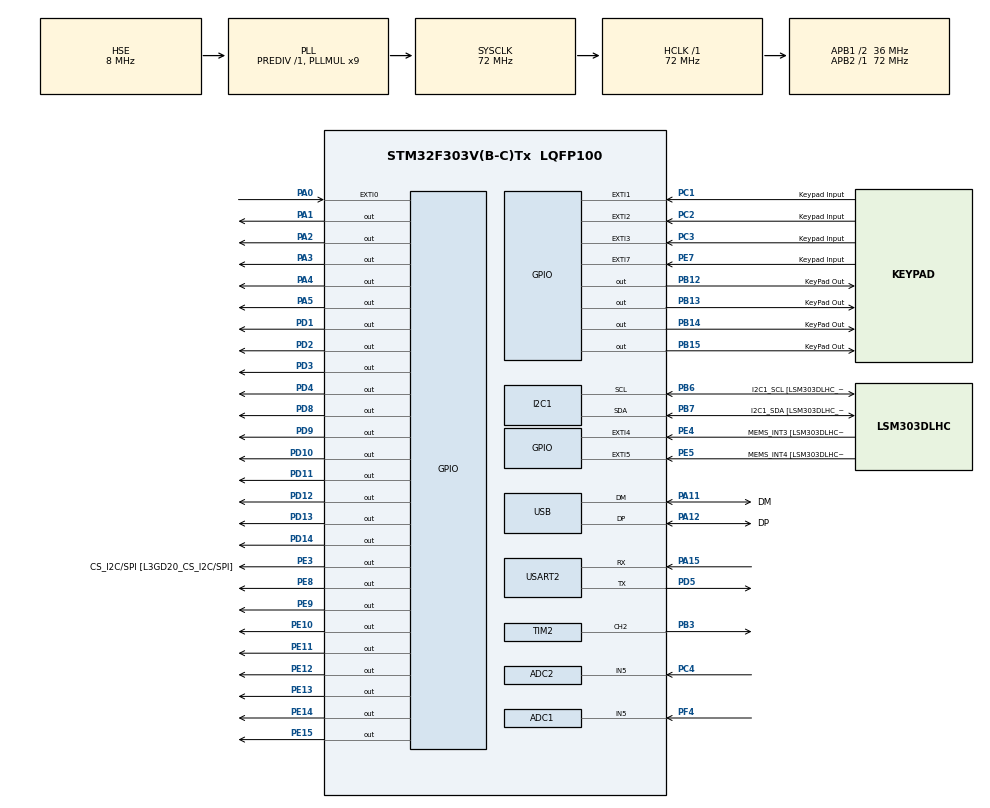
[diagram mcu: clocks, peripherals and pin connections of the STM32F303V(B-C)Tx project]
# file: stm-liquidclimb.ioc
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ADC1.Channel-0\#ChannelRegularConversion=ADC_CHANNEL_5
ADC1.NbrOfConversionFlag=1
ADC1.Offset-0\#ChannelRegularConversion=0
ADC1.OffsetNumber-0\#ChannelRegularConversion=ADC_OFFSET_NONE
ADC1.Rank-0\#ChannelRegularConversion=1
ADC1.SamplingTime-0\#ChannelRegularConversion=ADC_SAMPLETIME_601CYCLES_5
ADC1.SamplingTimeOPAMP-0\#ChannelRegularConversion=ADC_SAMPLETIME_61CYCLES_5
ADC1.master=1
ADC2.Channel-0\#ChannelRegularConversion=ADC_CHANNEL_5
ADC2.NbrOfConversionFlag=1
ADC2.Offset-0\#ChannelRegularConversion=0
ADC2.OffsetNumber-0\#ChannelRegularConversion=ADC_OFFSET_NONE
ADC2.Rank-0\#ChannelRegularConversion=1
ADC2.SamplingTime-0\#ChannelRegularConversion=ADC_SAMPLETIME_601CYCLES_5
ADC2.SamplingTimeOPAMP-0\#ChannelRegularConversion=ADC_SAMPLETIME_61CYCLES_5
I2C1.Timing-I2C=0x2000090E
Mcu.Family=STM32F3
Mcu.Name=STM32F303V(B-C)Tx
Mcu.Package=LQFP100
NVIC.ADC1_2_IRQn=true\:0\:0\:true\:false\:true\:true\:true
NVIC.EXTI0_IRQn=true\:1\:0\:true\:false\:true\:true\:true
NVIC.EXTI1_IRQn=true\:1\:0\:true\:false\:true\:true\:true
NVIC.EXTI2_TSC_IRQn=true\:1\:0\:true\:false\:true\:true\:true
NVIC.EXTI3_IRQn=true\:1\:0\:true\:false\:true\:true\:true
NVIC.EXTI9_5_IRQn=true\:1\:0\:true\:false\:true\:true\:true
NVIC.PriorityGroup=NVIC_PRIORITYGROUP_2
NVIC.TIM4_IRQn=true\:2\:0\:true\:false\:true\:true\:true
NVIC.TIM7_IRQn=true\:0\:0\:false\:false\:true\:true\:true
NVIC.USART2_IRQn=true\:1\:0\:true\:false\:true\:true\:true
PA0.GPIO_PuPd=GPIO_PULLDOWN
PA0.Signal=GPXTI0
PA1.Signal=GPIO_Output
PA11.GPIO_Label=DM
PA11.Mode=Device
PA11.Signal=USB_DM
PA12.GPIO_Label=DP
PA12.Mode=Device
PA12.Signal=USB_DP
PA13.GPIO_Label=SWDIO
PA13.Mode=Serial_Wire
PA13.Signal=SYS_JTMS-SWDIO
PA14.GPIO_Label=SWCLK
PA14.Mode=Serial_Wire
PA14.Signal=SYS_JTCK-SWCLK
PA15.Mode=Asynchronous
PA15.Signal=USART2_RX
PA2.Signal=GPIO_Output
PA3.Signal=GPIO_Output
PA4.Signal=GPIO_Output
PA5.Signal=GPIO_Output
PA6.GPIO_Label=SPI1_MISO [L3GD20_SA0/SDO]
PA6.Signal=SPI1_MISO
PA7.GPIO_Label=SPI1_MISO [L3GD20_SDA/SDI/SDO]
PA7.Signal=SPI1_MOSI
PB12.GPIO_Label=KeyPad Out
PB12.Signal=GPIO_Output
PB13.GPIO_Label=KeyPad Out
PB13.Signal=GPIO_Output
PB14.GPIO_Label=KeyPad Out
PB14.Signal=GPIO_Output
PB15.GPIO_Label=KeyPad Out
PB15.Signal=GPIO_Output
PB3.Signal=S_TIM2_CH2
PB6.GPIO_Label=I2C1_SCL [LSM303DLHC_SCL]
PB6.GPIO_Pu=GPIO_PULLUP
PB6.Mode=I2C
PB6.Signal=I2C1_SCL
PB7.GPIO_Label=I2C1_SDA [LSM303DLHC_SDA]
PB7.GPIO_Pu=GPIO_PULLUP
PB7.Mode=I2C
PB7.Signal=I2C1_SDA
PC1.GPIO_Label=Keypad Input
PC1.GPIO_PuPd=GPIO_PULLDOWN
PC1.Signal=GPXTI1
PC14-OSC32_IN.GPIO_Label=OSC32_IN
PC14-OSC32_IN.Signal=RCC_OSC32_IN
PC15-OSC32_OUT.GPIO_Label=OSC32_OUT
PC15-OSC32_OUT.Signal=RCC_OSC32_OUT
PC2.GPIO_Label=Keypad Input
PC2.GPIO_PuPd=GPIO_PULLDOWN
PC2.Signal=GPXTI2
PC3.GPIO_Label=Keypad Input
PC3.GPIO_PuPd=GPIO_PULLDOWN
PC3.Signal=GPXTI3
PC4.Mode=IN5-Single-Ended
PC4.Signal=ADC2_IN5
PD1.Signal=GPIO_Output
PD10.Signal=GPIO_Output
PD11.Signal=GPIO_Output
PD12.Signal=GPIO_Output
PD13.Signal=GPIO_Output
PD14.Signal=GPIO_Output
PD2.Signal=GPIO_Output
PD3.Signal=GPIO_Output
PD4.Signal=GPIO_Output
PD5.Mode=Asynchronous
PD5.Signal=USART2_TX
PD8.Signal=GPIO_Output
PD9.Signal=GPIO_Output
PE10.Signal=GPIO_Output
PE11.Signal=GPIO_Output
PE12.Signal=GPIO_Output
PE13.Signal=GPIO_Output
PE14.Signal=GPIO_Output
PE15.Signal=GPIO_Output
PE3.GPIO_Label=CS_I2C/SPI [L3GD20_CS_I2C/SPI]
PE3.Signal=GPIO_Output
PE4.GPIO_Label=MEMS_INT3 [LSM303DLHC_INT1]
PE4.GPIO_ModeDefaultEXTI=GPIO_MODE_EVT_RISING
PE4.Signal=GPXTI4
PE5.GPIO_Label=MEMS_INT4 [LSM303DLHC_INT2]
PE5.GPIO_ModeDefaultEXTI=GPIO_MODE_EVT_RISING
PE5.Signal=GPXTI5
PE7.GPIO_Label=Keypad Input
PE7.GPIO_PuPd=GPIO_PULLDOWN
PE7.Signal=GPXTI7
PE8.Signal=GPIO_Output
PE9.Signal=GPIO_Output
PF0-OSC_IN.GPIO_Label=OSC_IN
PF0-OSC_IN.Mode=HSE-External-Clock-Source
PF0-OSC_IN.Signal=RCC_OSC_IN
PF1-OSC_OUT.GPIO_Label=OSC_OUT
PF1-OSC_OUT.Signal=RCC_OSC_OUT
PF4.Mode=IN5-Single-Ended
PF4.Signal=ADC1_IN5
ProjectManager.HeapSize=0x200
ProjectManager.StackSize=0x400
ProjectManager.TargetToolchain=STM32CubeIDE
RCC.AHBFreq_Value=72000000
RCC.APB1CLKDivider=RCC_HCLK_DIV2
RCC.APB1Freq_Value=36000000
RCC.APB1TimFreq_Value=72000000
RCC.APB2Freq_Value=72000000
RCC.APB2TimFreq_Value=72000000
RCC.CortexFreq_Value=72000000
RCC.HCLKFreq_Value=72000000
RCC.HSE_VALUE=8000000
RCC.HSI_VALUE=8000000
RCC.LSE_VALUE=32768
RCC.PLLMUL=RCC_PLL_MUL9
RCC.PRESCALERUSB=RCC_USBCLKSOURCE_PLL_DIV1_5
RCC.SYSCLKFreq_VALUE=72000000
RCC.SYSCLKSourceVirtual=RCC_SYSCLKSOURCE_PLLCLK
RCC.USBFreq_Value=48000000
SH.S_TIM2_CH2.0=TIM2_CH2,PWM Generation2 CH2
TIM2.Channel-PWM\ Generation2\ CH2=TIM_CHANNEL_2
TIM2.Period=100 - 1
TIM2.Prescaler=72 - 1
TIM4.Period=10000-1
TIM4.Prescaler=72 -1
TIM7.Period=1000 - 1
TIM7.Prescaler=72 - 1
USART2.VirtualMode-Asynchronous=VM_ASYNC
VP_RTC_VS_RTC_Activate.Mode=RTC_Enabled
VP_RTC_VS_RTC_Calendar.Mode=RTC_Calendar
VP_TIM4_VS_ClockSourceINT.Mode=Internal
VP_TIM7_VS_ClockSourceINT.Mode=Enable_Timer
board=STM32F3DISCOVERY

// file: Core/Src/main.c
/* USER CODE BEGIN Header */
/**
 ******************************************************************************
 * @file           : main.c
 * @brief          : Main program body
 ******************************************************************************
 * @attention
 *
 * Copyright (c) 2022 STMicroelectronics.
 * All rights reserved.
 *
 * This software is licensed under terms that can be found in the LICENSE file
 * in the root directory of this software component.
 * If no LICENSE file comes with this software, it is provided AS-IS.
 *
 ******************************************************************************
 */
/* USER CODE END Header */
#include "main.h"

/* USER CODE BEGIN Includes */
#include <string.h>
#include <stdlib.h>
#include <stdio.h>
#include <time.h>
#include "stm-liquidclimb.h"
#include "LiquidCrystal.h"

/* USER CODE END Includes */

ADC_HandleTypeDef hadc1;
ADC_HandleTypeDef hadc2;

I2C_HandleTypeDef hi2c1;

RTC_HandleTypeDef hrtc;

TIM_HandleTypeDef htim2;
TIM_HandleTypeDef htim4;
TIM_HandleTypeDef htim7;

UART_HandleTypeDef huart2;

PCD_HandleTypeDef hpcd_USB_FS;

void SystemClock_Config(void);
static void MX_GPIO_Init(void);
static void MX_I2C1_Init(void);
static void MX_USB_PCD_Init(void);
static void MX_ADC1_Init(void);
static void MX_ADC2_Init(void);
static void MX_TIM4_Init(void);
static void MX_TIM2_Init(void);
static void MX_USART2_UART_Init(void);
static void MX_RTC_Init(void);
static void MX_TIM7_Init(void);

/* USER CODE BEGIN 0 */
// Variables
liquidclimb_t board[COLUMN_SIZE][ROW_SIZE];
entity_t bullets[MAX_BULLETS];
entity_t player = { { 1, 2 }, { 1, 0 }, PLAYER, 0 };
entity_t last_platform = { { 0, 0 }, { 0, 0 }, PLATFORM, 0 };
char username[50] = "Climber";
uint8_t button_number = 0;
uint8_t d1, d2, d3, d4;
uint32_t score = 0;
int8_t shift_delta = -1;
uint8_t difficulty = 5;
unsigned char uart_data;
liquidclimb_game_state_t game_state = INTRO;
RTC_TimeTypeDef liquidclimb_time;
RTC_DateTypeDef liquidclimb_date;

// Custom characters
uint8_t platform_c[] = { 0x0E, 0x1F, 0x1F, 0x1F, 0x1F, 0x1F, 0x1F, 0x0E };
uint8_t broken_platform_c[] = { 0x0E, 0x1F, 0x06, 0x19, 0x1B, 0x04, 0x1F, 0x0E };
uint8_t blackhole_c[] = { 0x1C, 0x0E, 0x1F, 0x1F, 0x1F, 0x0E, 0x07, 0x00 };
uint8_t player_c[] = { 0x00, 0x0E, 0x1F, 0x0D, 0x0D, 0x1F, 0x00, 0x00 };
uint8_t monster_c[] = { 0x03, 0x04, 0x1F, 0x0D, 0x0D, 0x1F, 0x04, 0x03 };
uint8_t bullet_c[] = { 0x00, 0x00, 0x18, 0x1E, 0x1E, 0x18, 0x00, 0x00 };
uint8_t spring_platform_c[] = { 0x0C, 0x1C, 0x1D, 0x1D, 0x1D, 0x1F, 0x1C, 0x0C };

// Keypad Pins
GPIO_TypeDef *const Column_ports[] = { GPIOB, GPIOB, GPIOB, GPIOB };
const uint16_t Column_pins[] = { GPIO_PIN_15, GPIO_PIN_14, GPIO_PIN_13,
GPIO_PIN_12 };
GPIO_TypeDef *const Row_ports[] = { GPIOE, GPIOC, GPIOC, GPIOC };
const uint16_t Row_pins[] = { GPIO_PIN_7, GPIO_PIN_1, GPIO_PIN_2, GPIO_PIN_3 };

// find an unsed bullet (tick = 0) and shoot it;
void shoot_bullet() {
	for (int i = 0; i < MAX_BULLETS; ++i) {
		if (bullets[i].tick == 0) {
			bullets[i].position.x = player.position.x + 1;
			bullets[i].position.y = player.position.y;
			bullets[i].tick++;
			break;
		}
	}
}

// initialize the board with random pieces
void init_board() {
	// Init Board
	for (int i = 0; i < COLUMN_SIZE; i++) {
		for (int j = 0; j < ROW_SIZE; j++) {
			board[i][j] = NOTHING;
		}
	}

	// generate new entities at the end of the board
	// each time this function is called we increase the count
	// if count gets higher than JUMP_HEIGHT - 1 it means
	// that we must place a platform in order for the player
	// to be able to proceed with its climb
	uint8_t count = JUMP_HEIGHT - 3;
	// row_switch is used to change the row of
	// deterministically placed platforms
	uint8_t row_switch = 0;
	uint8_t has_placed_deterministically = 0;

	for (int x = 3; x < COLUMN_SIZE; ++x) {
		for (int y = 0; y < ROW_SIZE; ++y) {
			if (!has_placed_deterministically || y != row_switch) {
				liquidclimb_t placed_entity_type = generate_new_entity(y, x);
				if (placed_entity_type == PLATFORM
						|| placed_entity_type == SPRING_PLATFORM)
					count = 0;
			}
			if (count >= JUMP_HEIGHT - 1) {
				place_point(x, row_switch, PLATFORM);
				count = 0;
				has_placed_deterministically = 1;
			}
		}
		count++;
		if (has_placed_deterministically)
			row_switch = (row_switch + 1) % ROW_SIZE;
		has_placed_deterministically = 0;
	}

	// Init bullets list
	for (int i = 0; i < MAX_BULLETS; i++) {
		bullets[i].position.x = 0;
		bullets[i].position.y = 0;
		bullets[i].velocity.x = 1;
		bullets[i].velocity.y = 0;
		bullets[i].type = BULLET;
		bullets[i].tick = 0;
	}

	HAL_GPIO_WritePin(GPIOE, GPIO_PIN_8, 0);
	HAL_GPIO_WritePin(GPIOE, GPIO_PIN_9, 0);
	HAL_GPIO_WritePin(GPIOE, GPIO_PIN_10, 0);
	HAL_GPIO_WritePin(GPIOE, GPIO_PIN_11, 0);
	HAL_GPIO_WritePin(GPIOE, GPIO_PIN_12, 0);
	HAL_GPIO_WritePin(GPIOE, GPIO_PIN_13, 0);
	HAL_GPIO_WritePin(GPIOE, GPIO_PIN_14, 0);
	HAL_GPIO_WritePin(GPIOE, GPIO_PIN_15, 0);

	place_point(2, 0, PLATFORM);
	place_point(0, 2, PLATFORM);
	player.position.x = 1;
	player.position.y = 2;
	player.velocity.x = 1;
	player.velocity.y = 0;
	player.tick = 0;

	shift_delta = -1;
	score = 0;
	uint_to_seven_segment(score);

	place_entity(&player);
}

void init_board_test() {
	// Init Board
	for (int i = 0; i < COLUMN_SIZE; i++) {
		for (int j = 0; j < ROW_SIZE; j++) {
			board[i][j] = NOTHING;
		}
	}

	// Init bullets list
	for (int i = 0; i < MAX_BULLETS; i++) {
		bullets[i].position.x = 0;
		bullets[i].position.y = 0;
		bullets[i].velocity.x = 1;
		bullets[i].velocity.y = 0;
		bullets[i].type = BULLET;
		bullets[i].tick = 0;
	}

	place_point(1, 0, PLATFORM);
	//place_point(12, 0, BLACKHOLE);
	place_point(17, 0, MONSTER);
	//place_point(6, 0, PLATFORM);
	place_point(7, 0, BROKEN_PLATFORM);

	place_point(4, 1, PLATFORM);
	//place_point(8, 1, MONSTER);
	place_point(0, 1, MONSTER);
	place_point(9, 1, SPRING_PLATFORM);

	place_point(0, 2, PLATFORM);
	place_point(5, 2, SPRING_PLATFORM);
	place_point(15, 2, SPRING_PLATFORM);
	place_point(17, 2, BROKEN_PLATFORM);

	place_point(9, 3, PLATFORM);
	place_point(4, 3, PLATFORM);
	//place_point(16, 3, MONSTER);
	//place_point(9, 3, PLATFORM);

	place_entity(&player);
}

void display_about() {
	setCursor(4, 0);
	print("            ");
	setCursor(6, 0);
	print("About");

	// Names
	setCursor(0, 2);
	print("                    ");
	setCursor(0, 2);
	print(" Arash Sal Moslehian");
	setCursor(0, 3);
	print("                  ");
	setCursor(0, 3);
	print(" Nima MoeinTaghavi");

	// RTC
	char msg[100] = "";
	setCursor(1, 1);
	sprintf(msg, "%02d-%02d-%02d", liquidclimb_date.Year,
			liquidclimb_date.Month, liquidclimb_date.WeekDay);
	print(msg);

	setCursor(10, 1);
	sprintf(msg, " %02d:%02d:%02d", liquidclimb_time.Hours,
			liquidclimb_time.Minutes, liquidclimb_time.Seconds);
	print(msg);
}

void transmit_action(const char *msg) {
	char buff[100] = "";
	sprintf(buff, "A: %s U: %s T: %02d:%02d:%02d\n", msg, username,
			liquidclimb_time.Hours, liquidclimb_time.Minutes,
			liquidclimb_time.Seconds);
//	sprintf(buff, "\nA: %s U: %s D: %02d-%02d-%02d T: %02d:%02d:%02d\n", msg,
//			username, liquidclimb_date.Year,liquidclimb_date.Month, liquidclimb_date.WeekDay,
//			liquidclimb_time.Hours,liquidclimb_time.Minutes, liquidclimb_time.Seconds);
	HAL_UART_Transmit(&huart2, (unsigned char*) buff, strlen(buff), 10);
}

// Keypad ISR
void HAL_GPIO_EXTI_Callback(uint16_t GPIO_Pin) {
	// Debounce
	static uint32_t last_gpio_exti;
	if (last_gpio_exti + 200 > HAL_GetTick()) {
		return;
	}
	last_gpio_exti = HAL_GetTick();

	int8_t row_number = -1;
	int8_t column_number = -1;

// Loop through Rows
	for (uint8_t row = 0; row < 4; row++) {
		if (GPIO_Pin == Row_pins[row]) {
			row_number = row;
		}
	}

	if (row_number < 0)
		return;

	HAL_GPIO_WritePin(Column_ports[0], Column_pins[0], 0);
	HAL_GPIO_WritePin(Column_ports[1], Column_pins[1], 0);
	HAL_GPIO_WritePin(Column_ports[2], Column_pins[2], 0);
	HAL_GPIO_WritePin(Column_ports[3], Column_pins[3], 0);

	// Loop through Columns
	for (uint8_t col = 0; col < 4; col++) {
		HAL_GPIO_WritePin(Column_ports[col], Column_pins[col], 1);
		if (HAL_GPIO_ReadPin(Row_ports[row_number], Row_pins[row_number])) {
			column_number = col;
		}
		HAL_GPIO_WritePin(Column_ports[col], Column_pins[col], 0);
	}

	HAL_GPIO_WritePin(Column_ports[0], Column_pins[0], 1);
	HAL_GPIO_WritePin(Column_ports[1], Column_pins[1], 1);
	HAL_GPIO_WritePin(Column_ports[2], Column_pins[2], 1);
	HAL_GPIO_WritePin(Column_ports[3], Column_pins[3], 1);

	// Reject invalid scan
	if (row_number == -1 || column_number == -1) {
		return;
	}
	//   C0   C1   C2   C3
	// +----+----+----+----+
	// | 1  | 2  | 3  | 4  |  R0
	// +----+----+----+----+
	// | 5  | 6  | 7  | 8  |  R1
	// +----+----+----+----+
	// | 9  | 10 | 11 | 12 |  R2
	// +----+----+----+----+
	// | 13 | 14 | 15 | 16 |  R3
	// +----+----+----+----+
	button_number = row_number * 4 + column_number + 1;

	switch (button_number) {
	case 1:
		if (game_state == MENU) {
			clear();
			init_board();
			game_state = RUNNING;
		}
		break;
	case 2:
		if (game_state == MENU) {
			display_about();
			game_state = ABOUT;
		}
		break;
	case 3:
		if (game_state == GAMEOVER) {
			display_menu();
			game_state = MENU;
		} else if (game_state == ABOUT) {
			display_menu();
			game_state = MENU;
		}
		break;
	case 13:
		transmit_action("Left");
		player.velocity.y = -1;
		break;
	case 14:
		transmit_action("Shoot");
		shoot_bullet();
		break;
	case 16:
		transmit_action("Right");
		player.velocity.y = 1;
		break;
	}
}

// ADC ISR
void HAL_ADC_ConvCpltCallback(ADC_HandleTypeDef *hadc) {
	if (hadc->Instance == ADC1) {
		static float arr[MV_AVG_SIZE] = { 0 };
		static size_t pos = 0;
		// Volume
		int x = HAL_ADC_GetValue(&hadc1);
		float fx = ((float) x / 4026) * 100;
		arr[pos] = fx;
		pos = (pos + 1) % MV_AVG_SIZE;
		fx = cal_avg(arr, MV_AVG_SIZE);
		difficulty = fx / 10;
		d1 = difficulty;
	}
}

/* USER CODE END 0 */

int main(void) {

	/* MCU Configuration--------------------------------------------------------*/

	/* Reset of all peripherals, Initializes the Flash interface and the Systick. */
	HAL_Init();

	/* USER CODE BEGIN Init */
	//uint_to_seven_segment(1234);
	/* USER CODE END Init */

	/* Configure the system clock */
	SystemClock_Config();

	/* Initialize all configured peripherals */
	MX_GPIO_Init();
	MX_I2C1_Init();
	MX_USB_PCD_Init();
	MX_ADC1_Init();
	MX_ADC2_Init();
	MX_TIM4_Init();
	MX_TIM2_Init();
	MX_USART2_UART_Init();
	MX_RTC_Init();
	MX_TIM7_Init();
	/* USER CODE BEGIN 2 */

	// Turn off 7-segment
	HAL_GPIO_WritePin(GPIOD, GPIO_PIN_1, 1);
	HAL_GPIO_WritePin(GPIOD, GPIO_PIN_2, 1);
	HAL_GPIO_WritePin(GPIOD, GPIO_PIN_3, 1);
	HAL_GPIO_WritePin(GPIOD, GPIO_PIN_4, 1);

	HAL_GPIO_WritePin(Column_ports[0], Column_pins[0], 1);
	HAL_GPIO_WritePin(Column_ports[1], Column_pins[1], 1);
	HAL_GPIO_WritePin(Column_ports[2], Column_pins[2], 1);
	HAL_GPIO_WritePin(Column_ports[3], Column_pins[3], 1);

	// RTC config
	liquidclimb_time.Hours = 9;
	liquidclimb_time.Minutes = 30;
	liquidclimb_time.Seconds = 45;

	liquidclimb_date.Year = 22;
	liquidclimb_date.Month = 5;
	liquidclimb_date.WeekDay = 18;

	HAL_RTC_SetDate(&hrtc, &liquidclimb_date, RTC_FORMAT_BIN);
	HAL_RTC_SetTime(&hrtc, &liquidclimb_time, RTC_FORMAT_BIN);

	// Buzzer
	HAL_TIM_PWM_Start(&htim2, TIM_CHANNEL_2);

	// Initialize the LCD
	LiquidCrystal(GPIOD, GPIO_PIN_8, GPIO_PIN_9, GPIO_PIN_10, GPIO_PIN_11,
	GPIO_PIN_12, GPIO_PIN_13, GPIO_PIN_14);

	begin(20, 4);
	clear();

	createChar(PLATFORM, platform_c);
	createChar(BROKEN_PLATFORM, broken_platform_c);
	createChar(SPRING_PLATFORM, spring_platform_c);
	createChar(BULLET, bullet_c);
	createChar(MONSTER, monster_c);
	createChar(PLAYER, player_c);
	createChar(BLACKHOLE, blackhole_c);

	srand(HAL_ADC_GetValue(&hadc2));
	init_board();
	game_state = INTRO;

	setCursor(4, 0);
	print("Liquid Climb");
	setCursor(4, 2);
	print("Press button");
	setCursor(4, 3);
	print("to continue ");

	HAL_UART_Receive_IT(&huart2, &uart_data, sizeof(uart_data));

	// Start timer interrupts
	HAL_ADC_Start_IT(&hadc1);
	HAL_TIM_Base_Start_IT(&htim4);
	HAL_TIM_Base_Start_IT(&htim7);

	/* USER CODE END 2 */

	/* Infinite loop */
	while (1) {

	}
}

void SystemClock_Config(void) {
	RCC_OscInitTypeDef RCC_OscInitStruct = { 0 };
	RCC_ClkInitTypeDef RCC_ClkInitStruct = { 0 };
	RCC_PeriphCLKInitTypeDef PeriphClkInit = { 0 };

	/** Initializes the RCC Oscillators according to the specified parameters
	 * in the RCC_OscInitTypeDef structure.
	 */
	RCC_OscInitStruct.OscillatorType = RCC_OSCILLATORTYPE_HSI
			| RCC_OSCILLATORTYPE_LSI | RCC_OSCILLATORTYPE_HSE;
	RCC_OscInitStruct.HSEState = RCC_HSE_BYPASS;
	RCC_OscInitStruct.HSEPredivValue = RCC_HSE_PREDIV_DIV1;
	RCC_OscInitStruct.HSIState = RCC_HSI_ON;
	RCC_OscInitStruct.HSICalibrationValue = RCC_HSICALIBRATION_DEFAULT;
	RCC_OscInitStruct.LSIState = RCC_LSI_ON;
	RCC_OscInitStruct.PLL.PLLState = RCC_PLL_ON;
	RCC_OscInitStruct.PLL.PLLSource = RCC_PLLSOURCE_HSE;
	RCC_OscInitStruct.PLL.PLLMUL = RCC_PLL_MUL9;
	if (HAL_RCC_OscConfig(&RCC_OscInitStruct) != HAL_OK) {
		Error_Handler();
	}
	/** Initializes the CPU, AHB and APB buses clocks
	 */
	RCC_ClkInitStruct.ClockType = RCC_CLOCKTYPE_HCLK | RCC_CLOCKTYPE_SYSCLK
			| RCC_CLOCKTYPE_PCLK1 | RCC_CLOCKTYPE_PCLK2;
	RCC_ClkInitStruct.SYSCLKSource = RCC_SYSCLKSOURCE_PLLCLK;
	RCC_ClkInitStruct.AHBCLKDivider = RCC_SYSCLK_DIV1;
	RCC_ClkInitStruct.APB1CLKDivider = RCC_HCLK_DIV2;
	RCC_ClkInitStruct.APB2CLKDivider = RCC_HCLK_DIV1;

	if (HAL_RCC_ClockConfig(&RCC_ClkInitStruct, FLASH_LATENCY_2) != HAL_OK) {
		Error_Handler();
	}
	PeriphClkInit.PeriphClockSelection = RCC_PERIPHCLK_USB
			| RCC_PERIPHCLK_USART2 | RCC_PERIPHCLK_I2C1 | RCC_PERIPHCLK_RTC
			| RCC_PERIPHCLK_ADC12;
	PeriphClkInit.Usart2ClockSelection = RCC_USART2CLKSOURCE_PCLK1;
	PeriphClkInit.Adc12ClockSelection = RCC_ADC12PLLCLK_DIV1;
	PeriphClkInit.I2c1ClockSelection = RCC_I2C1CLKSOURCE_HSI;
	PeriphClkInit.RTCClockSelection = RCC_RTCCLKSOURCE_LSI;
	PeriphClkInit.USBClockSelection = RCC_USBCLKSOURCE_PLL_DIV1_5;
	if (HAL_RCCEx_PeriphCLKConfig(&PeriphClkInit) != HAL_OK) {
		Error_Handler();
	}
}

static void MX_ADC1_Init(void) {

	ADC_MultiModeTypeDef multimode = { 0 };
	ADC_ChannelConfTypeDef sConfig = { 0 };

	/** Common config
	 */
	hadc1.Instance = ADC1;
	hadc1.Init.ClockPrescaler = ADC_CLOCK_ASYNC_DIV1;
	hadc1.Init.Resolution = ADC_RESOLUTION_12B;
	hadc1.Init.ScanConvMode = ADC_SCAN_DISABLE;
	hadc1.Init.ContinuousConvMode = DISABLE;
	hadc1.Init.DiscontinuousConvMode = DISABLE;
	hadc1.Init.ExternalTrigConvEdge = ADC_EXTERNALTRIGCONVEDGE_NONE;
	hadc1.Init.ExternalTrigConv = ADC_SOFTWARE_START;
	hadc1.Init.DataAlign = ADC_DATAALIGN_RIGHT;
	hadc1.Init.NbrOfConversion = 1;
	hadc1.Init.DMAContinuousRequests = DISABLE;
	hadc1.Init.EOCSelection = ADC_EOC_SINGLE_CONV;
	hadc1.Init.LowPowerAutoWait = DISABLE;
	hadc1.Init.Overrun = ADC_OVR_DATA_OVERWRITTEN;
	if (HAL_ADC_Init(&hadc1) != HAL_OK) {
		Error_Handler();
	}
	/** Configure the ADC multi-mode
	 */
	multimode.Mode = ADC_MODE_INDEPENDENT;
	if (HAL_ADCEx_MultiModeConfigChannel(&hadc1, &multimode) != HAL_OK) {
		Error_Handler();
	}
	/** Configure Regular Channel
	 */
	sConfig.Channel = ADC_CHANNEL_5;
	sConfig.Rank = ADC_REGULAR_RANK_1;
	sConfig.SingleDiff = ADC_SINGLE_ENDED;
	sConfig.SamplingTime = ADC_SAMPLETIME_601CYCLES_5;
	sConfig.OffsetNumber = ADC_OFFSET_NONE;
	sConfig.Offset = 0;
	if (HAL_ADC_ConfigChannel(&hadc1, &sConfig) != HAL_OK) {
		Error_Handler();
	}

}

static void MX_ADC2_Init(void) {

	ADC_ChannelConfTypeDef sConfig = { 0 };

	/** Common config
	 */
	hadc2.Instance = ADC2;
	hadc2.Init.ClockPrescaler = ADC_CLOCK_ASYNC_DIV1;
	hadc2.Init.Resolution = ADC_RESOLUTION_12B;
	hadc2.Init.ScanConvMode = ADC_SCAN_DISABLE;
	hadc2.Init.ContinuousConvMode = DISABLE;
	hadc2.Init.DiscontinuousConvMode = DISABLE;
	hadc2.Init.ExternalTrigConvEdge = ADC_EXTERNALTRIGCONVEDGE_NONE;
	hadc2.Init.ExternalTrigConv = ADC_SOFTWARE_START;
	hadc2.Init.DataAlign = ADC_DATAALIGN_RIGHT;
	hadc2.Init.NbrOfConversion = 1;
	hadc2.Init.DMAContinuousRequests = DISABLE;
	hadc2.Init.EOCSelection = ADC_EOC_SINGLE_CONV;
	hadc2.Init.LowPowerAutoWait = DISABLE;
	hadc2.Init.Overrun = ADC_OVR_DATA_OVERWRITTEN;
	if (HAL_ADC_Init(&hadc2) != HAL_OK) {
		Error_Handler();
	}
	/** Configure Regular Channel
	 */
	sConfig.Channel = ADC_CHANNEL_5;
	sConfig.Rank = ADC_REGULAR_RANK_1;
	sConfig.SingleDiff = ADC_SINGLE_ENDED;
	sConfig.SamplingTime = ADC_SAMPLETIME_601CYCLES_5;
	sConfig.OffsetNumber = ADC_OFFSET_NONE;
	sConfig.Offset = 0;
	if (HAL_ADC_ConfigChannel(&hadc2, &sConfig) != HAL_OK) {
		Error_Handler();
	}

}

static void MX_I2C1_Init(void) {

	hi2c1.Instance = I2C1;
	hi2c1.Init.Timing = 0x2000090E;
	hi2c1.Init.OwnAddress1 = 0;
	hi2c1.Init.AddressingMode = I2C_ADDRESSINGMODE_7BIT;
	hi2c1.Init.DualAddressMode = I2C_DUALADDRESS_DISABLE;
	hi2c1.Init.OwnAddress2 = 0;
	hi2c1.Init.OwnAddress2Masks = I2C_OA2_NOMASK;
	hi2c1.Init.GeneralCallMode = I2C_GENERALCALL_DISABLE;
	hi2c1.Init.NoStretchMode = I2C_NOSTRETCH_DISABLE;
	if (HAL_I2C_Init(&hi2c1) != HAL_OK) {
		Error_Handler();
	}
	/** Configure Analogue filter
	 */
	if (HAL_I2CEx_ConfigAnalogFilter(&hi2c1, I2C_ANALOGFILTER_ENABLE)
			!= HAL_OK) {
		Error_Handler();
	}
	/** Configure Digital filter
	 */
	if (HAL_I2CEx_ConfigDigitalFilter(&hi2c1, 0) != HAL_OK) {
		Error_Handler();
	}

}

static void MX_RTC_Init(void) {

	RTC_TimeTypeDef sTime = { 0 };
	RTC_DateTypeDef sDate = { 0 };

	/** Initialize RTC Only
	 */
	hrtc.Instance = RTC;
	hrtc.Init.HourFormat = RTC_HOURFORMAT_24;
	hrtc.Init.AsynchPrediv = 127;
	hrtc.Init.SynchPrediv = 255;
	hrtc.Init.OutPut = RTC_OUTPUT_DISABLE;
	hrtc.Init.OutPutPolarity = RTC_OUTPUT_POLARITY_HIGH;
	hrtc.Init.OutPutType = RTC_OUTPUT_TYPE_OPENDRAIN;
	if (HAL_RTC_Init(&hrtc) != HAL_OK) {
		Error_Handler();
	}

	/** Initialize RTC and set the Time and Date
	 */
	sTime.Hours = 0x0;
	sTime.Minutes = 0x0;
	sTime.Seconds = 0x0;
	sTime.DayLightSaving = RTC_DAYLIGHTSAVING_NONE;
	sTime.StoreOperation = RTC_STOREOPERATION_RESET;
	if (HAL_RTC_SetTime(&hrtc, &sTime, RTC_FORMAT_BCD) != HAL_OK) {
		Error_Handler();
	}
	sDate.WeekDay = RTC_WEEKDAY_MONDAY;
	sDate.Month = RTC_MONTH_JANUARY;
	sDate.Date = 0x1;
	sDate.Year = 0x0;

	if (HAL_RTC_SetDate(&hrtc, &sDate, RTC_FORMAT_BCD) != HAL_OK) {
		Error_Handler();
	}

}

static void MX_TIM2_Init(void) {

	TIM_MasterConfigTypeDef sMasterConfig = { 0 };
	TIM_OC_InitTypeDef sConfigOC = { 0 };

	htim2.Instance = TIM2;
	htim2.Init.Prescaler = 72 - 1;
	htim2.Init.CounterMode = TIM_COUNTERMODE_UP;
	htim2.Init.Period = 100 - 1;
	htim2.Init.ClockDivision = TIM_CLOCKDIVISION_DIV1;
	htim2.Init.AutoReloadPreload = TIM_AUTORELOAD_PRELOAD_DISABLE;
	if (HAL_TIM_PWM_Init(&htim2) != HAL_OK) {
		Error_Handler();
	}
	sMasterConfig.MasterOutputTrigger = TIM_TRGO_RESET;
	sMasterConfig.MasterSlaveMode = TIM_MASTERSLAVEMODE_DISABLE;
	if (HAL_TIMEx_MasterConfigSynchronization(&htim2, &sMasterConfig)
			!= HAL_OK) {
		Error_Handler();
	}
	sConfigOC.OCMode = TIM_OCMODE_PWM1;
	sConfigOC.Pulse = 0;
	sConfigOC.OCPolarity = TIM_OCPOLARITY_HIGH;
	sConfigOC.OCFastMode = TIM_OCFAST_DISABLE;
	if (HAL_TIM_PWM_ConfigChannel(&htim2, &sConfigOC, TIM_CHANNEL_2)
			!= HAL_OK) {
		Error_Handler();
	}
	HAL_TIM_MspPostInit(&htim2);

}

static void MX_TIM4_Init(void) {

	TIM_ClockConfigTypeDef sClockSourceConfig = { 0 };
	TIM_MasterConfigTypeDef sMasterConfig = { 0 };

	htim4.Instance = TIM4;
	htim4.Init.Prescaler = 72 - 1;
	htim4.Init.CounterMode = TIM_COUNTERMODE_UP;
	htim4.Init.Period = 10000 - 1;
	htim4.Init.ClockDivision = TIM_CLOCKDIVISION_DIV1;
	htim4.Init.AutoReloadPreload = TIM_AUTORELOAD_PRELOAD_DISABLE;
	if (HAL_TIM_Base_Init(&htim4) != HAL_OK) {
		Error_Handler();
	}
	sClockSourceConfig.ClockSource = TIM_CLOCKSOURCE_INTERNAL;
	if (HAL_TIM_ConfigClockSource(&htim4, &sClockSourceConfig) != HAL_OK) {
		Error_Handler();
	}
	sMasterConfig.MasterOutputTrigger = TIM_TRGO_RESET;
	sMasterConfig.MasterSlaveMode = TIM_MASTERSLAVEMODE_DISABLE;
	if (HAL_TIMEx_MasterConfigSynchronization(&htim4, &sMasterConfig)
			!= HAL_OK) {
		Error_Handler();
	}

}

static void MX_TIM7_Init(void) {

	TIM_MasterConfigTypeDef sMasterConfig = { 0 };

	htim7.Instance = TIM7;
	htim7.Init.Prescaler = 72 - 1;
	htim7.Init.CounterMode = TIM_COUNTERMODE_UP;
	htim7.Init.Period = 1000 - 1;
	htim7.Init.AutoReloadPreload = TIM_AUTORELOAD_PRELOAD_DISABLE;
	if (HAL_TIM_Base_Init(&htim7) != HAL_OK) {
		Error_Handler();
	}
	sMasterConfig.MasterOutputTrigger = TIM_TRGO_RESET;
	sMasterConfig.MasterSlaveMode = TIM_MASTERSLAVEMODE_DISABLE;
	if (HAL_TIMEx_MasterConfigSynchronization(&htim7, &sMasterConfig)
			!= HAL_OK) {
		Error_Handler();
	}

}

static void MX_USART2_UART_Init(void) {

	huart2.Instance = USART2;
	huart2.Init.BaudRate = 38400;
	huart2.Init.WordLength = UART_WORDLENGTH_8B;
	huart2.Init.StopBits = UART_STOPBITS_1;
	huart2.Init.Parity = UART_PARITY_NONE;
	huart2.Init.Mode = UART_MODE_TX_RX;
	huart2.Init.HwFlowCtl = UART_HWCONTROL_NONE;
	huart2.Init.OverSampling = UART_OVERSAMPLING_16;
	huart2.Init.OneBitSampling = UART_ONE_BIT_SAMPLE_DISABLE;
	huart2.AdvancedInit.AdvFeatureInit = UART_ADVFEATURE_NO_INIT;
	if (HAL_UART_Init(&huart2) != HAL_OK) {
		Error_Handler();
	}

}

static void MX_USB_PCD_Init(void) {

	hpcd_USB_FS.Instance = USB;
	hpcd_USB_FS.Init.dev_endpoints = 8;
	hpcd_USB_FS.Init.speed = PCD_SPEED_FULL;
	hpcd_USB_FS.Init.phy_itface = PCD_PHY_EMBEDDED;
	hpcd_USB_FS.Init.low_power_enable = DISABLE;
	hpcd_USB_FS.Init.battery_charging_enable = DISABLE;
	if (HAL_PCD_Init(&hpcd_USB_FS) != HAL_OK) {
		Error_Handler();
	}

}

static void MX_GPIO_Init(void) {
	GPIO_InitTypeDef GPIO_InitStruct = { 0 };

	/* GPIO Ports Clock Enable */
	__HAL_RCC_GPIOE_CLK_ENABLE();
	__HAL_RCC_GPIOC_CLK_ENABLE();
	__HAL_RCC_GPIOF_CLK_ENABLE();
	__HAL_RCC_GPIOA_CLK_ENABLE();
	__HAL_RCC_GPIOB_CLK_ENABLE();
	__HAL_RCC_GPIOD_CLK_ENABLE();

	/*Configure GPIO pin Output Level */
	HAL_GPIO_WritePin(GPIOE,
			CS_I2C_SPI_Pin | GPIO_PIN_8 | GPIO_PIN_9 | GPIO_PIN_10 | GPIO_PIN_11
					| GPIO_PIN_12 | GPIO_PIN_13 | GPIO_PIN_14 | GPIO_PIN_15,
			GPIO_PIN_RESET);

	/*Configure GPIO pin Output Level */
	HAL_GPIO_WritePin(GPIOA,
	GPIO_PIN_1 | GPIO_PIN_2 | GPIO_PIN_3 | GPIO_PIN_4 | GPIO_PIN_5,
			GPIO_PIN_RESET);

	/*Configure GPIO pin Output Level */
	HAL_GPIO_WritePin(GPIOB,
	KeyPad_Out_Pin | KeyPad_OutB13_Pin | KeyPad_OutB14_Pin | KeyPad_OutB15_Pin,
			GPIO_PIN_RESET);

	/*Configure GPIO pin Output Level */
	HAL_GPIO_WritePin(GPIOD,
			GPIO_PIN_8 | GPIO_PIN_9 | GPIO_PIN_10 | GPIO_PIN_11 | GPIO_PIN_12
					| GPIO_PIN_13 | GPIO_PIN_14 | GPIO_PIN_1 | GPIO_PIN_2
					| GPIO_PIN_3 | GPIO_PIN_4, GPIO_PIN_RESET);

	/*Configure GPIO pins : CS_I2C_SPI_Pin PE8 PE9 PE10
	 PE11 PE12 PE13 PE14
	 PE15 */
	GPIO_InitStruct.Pin = CS_I2C_SPI_Pin | GPIO_PIN_8 | GPIO_PIN_9 | GPIO_PIN_10
			| GPIO_PIN_11 | GPIO_PIN_12 | GPIO_PIN_13 | GPIO_PIN_14
			| GPIO_PIN_15;
	GPIO_InitStruct.Mode = GPIO_MODE_OUTPUT_PP;
	GPIO_InitStruct.Pull = GPIO_NOPULL;
	GPIO_InitStruct.Speed = GPIO_SPEED_FREQ_LOW;
	HAL_GPIO_Init(GPIOE, &GPIO_InitStruct);

	/*Configure GPIO pins : MEMS_INT3_Pin MEMS_INT4_Pin */
	GPIO_InitStruct.Pin = MEMS_INT3_Pin | MEMS_INT4_Pin;
	GPIO_InitStruct.Mode = GPIO_MODE_EVT_RISING;
	GPIO_InitStruct.Pull = GPIO_NOPULL;
	HAL_GPIO_Init(GPIOE, &GPIO_InitStruct);

	/*Configure GPIO pins : Keypad_Input_Pin Keypad_InputC2_Pin Keypad_InputC3_Pin */
	GPIO_InitStruct.Pin = Keypad_Input_Pin | Keypad_InputC2_Pin
			| Keypad_InputC3_Pin;
	GPIO_InitStruct.Mode = GPIO_MODE_IT_RISING;
	GPIO_InitStruct.Pull = GPIO_PULLDOWN;
	HAL_GPIO_Init(GPIOC, &GPIO_InitStruct);

	/*Configure GPIO pin : PA0 */
	GPIO_InitStruct.Pin = GPIO_PIN_0;
	GPIO_InitStruct.Mode = GPIO_MODE_IT_RISING;
	GPIO_InitStruct.Pull = GPIO_PULLDOWN;
	HAL_GPIO_Init(GPIOA, &GPIO_InitStruct);

	/*Configure GPIO pins : PA1 PA2 PA3 PA4
	 PA5 */
	GPIO_InitStruct.Pin = GPIO_PIN_1 | GPIO_PIN_2 | GPIO_PIN_3 | GPIO_PIN_4
			| GPIO_PIN_5;
	GPIO_InitStruct.Mode = GPIO_MODE_OUTPUT_PP;
	GPIO_InitStruct.Pull = GPIO_NOPULL;
	GPIO_InitStruct.Speed = GPIO_SPEED_FREQ_LOW;
	HAL_GPIO_Init(GPIOA, &GPIO_InitStruct);

	/*Configure GPIO pins : SPI1_MISO_Pin SPI1_MISOA7_Pin */
	GPIO_InitStruct.Pin = SPI1_MISO_Pin | SPI1_MISOA7_Pin;
	GPIO_InitStruct.Mode = GPIO_MODE_AF_PP;
	GPIO_InitStruct.Pull = GPIO_NOPULL;
	GPIO_InitStruct.Speed = GPIO_SPEED_FREQ_HIGH;
	GPIO_InitStruct.Alternate = GPIO_AF5_SPI1;
	HAL_GPIO_Init(GPIOA, &GPIO_InitStruct);

	/*Configure GPIO pin : Keypad_InputE7_Pin */
	GPIO_InitStruct.Pin = Keypad_InputE7_Pin;
	GPIO_InitStruct.Mode = GPIO_MODE_IT_RISING;
	GPIO_InitStruct.Pull = GPIO_PULLDOWN;
	HAL_GPIO_Init(Keypad_InputE7_GPIO_Port, &GPIO_InitStruct);

	/*Configure GPIO pins : KeyPad_Out_Pin KeyPad_OutB13_Pin KeyPad_OutB14_Pin KeyPad_OutB15_Pin */
	GPIO_InitStruct.Pin = KeyPad_Out_Pin | KeyPad_OutB13_Pin | KeyPad_OutB14_Pin
			| KeyPad_OutB15_Pin;
	GPIO_InitStruct.Mode = GPIO_MODE_OUTPUT_PP;
	GPIO_InitStruct.Pull = GPIO_NOPULL;
	GPIO_InitStruct.Speed = GPIO_SPEED_FREQ_LOW;
	HAL_GPIO_Init(GPIOB, &GPIO_InitStruct);

	/*Configure GPIO pins : PD8 PD9 PD10 PD11
	 PD12 PD13 PD14 PD1
	 PD2 PD3 PD4 */
	GPIO_InitStruct.Pin = GPIO_PIN_8 | GPIO_PIN_9 | GPIO_PIN_10 | GPIO_PIN_11
			| GPIO_PIN_12 | GPIO_PIN_13 | GPIO_PIN_14 | GPIO_PIN_1 | GPIO_PIN_2
			| GPIO_PIN_3 | GPIO_PIN_4;
	GPIO_InitStruct.Mode = GPIO_MODE_OUTPUT_PP;
	GPIO_InitStruct.Pull = GPIO_NOPULL;
	GPIO_InitStruct.Speed = GPIO_SPEED_FREQ_LOW;
	HAL_GPIO_Init(GPIOD, &GPIO_InitStruct);

	/* EXTI interrupt init*/
	HAL_NVIC_SetPriority(EXTI0_IRQn, 1, 0);
	HAL_NVIC_EnableIRQ(EXTI0_IRQn);

	HAL_NVIC_SetPriority(EXTI1_IRQn, 1, 0);
	HAL_NVIC_EnableIRQ(EXTI1_IRQn);

	HAL_NVIC_SetPriority(EXTI2_TSC_IRQn, 1, 0);
	HAL_NVIC_EnableIRQ(EXTI2_TSC_IRQn);

	HAL_NVIC_SetPriority(EXTI3_IRQn, 1, 0);
	HAL_NVIC_EnableIRQ(EXTI3_IRQn);

	HAL_NVIC_SetPriority(EXTI9_5_IRQn, 1, 0);
	HAL_NVIC_EnableIRQ(EXTI9_5_IRQn);

}

/* USER CODE BEGIN 4 */
// Calculate the average of an array
float cal_avg(float *arr, size_t size) {
	float sum = 0;
	for (int i = 0; i < size; i++) {
		sum += arr[i];
	}
	return sum / size;
}

// Clear a string
void strclear(char str[]) {
	str[0] = '\0';
}

// Update seven segment
void seven_segment_update(uint8_t num) {
	uint8_t x1 = num & 1;
	uint8_t x2 = num & 2;
	uint8_t x3 = num & 4;
	uint8_t x4 = num & 8;
	if (x1 > 0)
		x1 = 1;
	if (x2 > 0)
		x2 = 1;
	if (x3 > 0)
		x3 = 1;
	if (x4 > 0)
		x4 = 1;
	HAL_GPIO_WritePin(GPIOA, GPIO_PIN_1, x1);
	HAL_GPIO_WritePin(GPIOA, GPIO_PIN_2, x2);
	HAL_GPIO_WritePin(GPIOA, GPIO_PIN_3, x3);
	HAL_GPIO_WritePin(GPIOA, GPIO_PIN_4, x4);
}

// Convert a uint to 4 digits
void uint_to_seven_segment(uint32_t number) {
	d2 = ((number / 100) % 10);
	d3 = ((number / 10) % 10);
	d4 = (number % 10);
}

// Change the tone of buzzer
void PWM_Change_Tone(TIM_HandleTypeDef *pwm_timer, uint32_t pwm_channel,
		uint16_t pwm_freq, uint16_t volume) // pwm_freq (1 - 20000), volume (0 - 1000)
{
	if (pwm_freq == 0 || pwm_freq > 20000) {
		__HAL_TIM_SET_COMPARE(pwm_timer, pwm_channel, 0);
	} else {
		const uint32_t internal_clock_freq = HAL_RCC_GetSysClockFreq();
		const uint16_t prescaler = 1;
		const uint32_t timer_clock = internal_clock_freq / prescaler;
		const uint32_t period_cycles = timer_clock / pwm_freq;
		const uint32_t pulse_width = volume * period_cycles / 1000 / 2;

		pwm_timer->Instance->PSC = prescaler - 1;
		pwm_timer->Instance->ARR = period_cycles - 1;
		pwm_timer->Instance->EGR = TIM_EGR_UG;
		__HAL_TIM_SET_COMPARE(pwm_timer, pwm_channel, pulse_width); // pwm_timer->Instance->CCR2 = pulse_width;
	}
}
/* USER CODE END 4 */

void Error_Handler(void) {
	__disable_irq();
	while (1) {
	}
}
